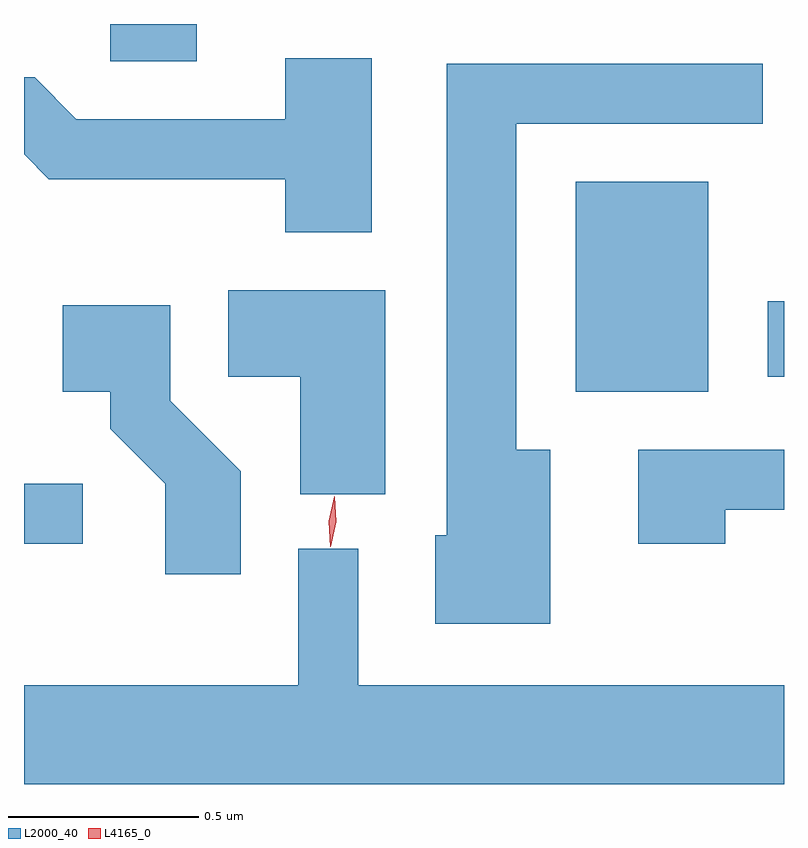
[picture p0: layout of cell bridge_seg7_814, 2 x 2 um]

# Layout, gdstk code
import gdstk
lib = gdstk.Library(unit=1e-6, precision=1e-09)
def R(c, l, rs):  # rectangles x0, y0, x1, y1
    for r in rs: c.add(gdstk.rectangle(r[:2], r[2:], *l))
def P(c, l, *ps):  # polygons
    for p in ps: c.add(gdstk.Polygon(p, *l))
L2000_40 = (2000, 40)
L4165_0 = (4165, 0)

bridge_seg7_814 = lib.new_cell('bridge_seg7_814')
R(bridge_seg7_814, L2000_40, [(210.484,1801.536,210.638,1801.694), (211.936,1801.936,212.284,1802.489), (212.441,1801.976,212.484,1802.174), (210.711,1802.806,210.939,1802.904)])
P(bridge_seg7_814, L2000_40, [(211.399,1802.814),(211.171,1802.814),(211.171,1802.654),(210.622,1802.654),(210.512,1802.764),(210.484,1802.764),(210.484,1802.561),(210.549,1802.496),(211.171,1802.496),(211.171,1802.356),(211.399,1802.356)],
  [(211.869,1801.784),(211.779,1801.784),(211.779,1802.641),(212.428,1802.641),(212.428,1802.799),(211.596,1802.799),(211.596,1801.559),(211.566,1801.559),(211.566,1801.326),(211.869,1801.326)],
  [(211.434,1802.204),(211.021,1802.204),(211.021,1801.976),(211.211,1801.976),(211.211,1801.666),(211.434,1801.666)],
  [(211.054,1801.727),(210.869,1801.912),(210.869,1802.164),(210.586,1802.164),(210.586,1801.936),(210.711,1801.936),(210.711,1801.839),(210.856,1801.694),(210.856,1801.456),(211.054,1801.456)],
  [(212.329,1801.626),(212.484,1801.626),(212.484,1801.784),(212.101,1801.784),(212.101,1801.536),(212.329,1801.536)],
  [(211.364,1801.523),(211.206,1801.523),(211.206,1801.164),(210.484,1801.164),(210.484,1800.904),(212.484,1800.904),(212.484,1801.164),(211.364,1801.164)])
P(bridge_seg7_814, L4165_0, [(211.29,1801.528),(211.29,1801.529),(211.286,1801.596),(211.301,1801.66),(211.301,1801.661),(211.302,1801.66),(211.306,1801.594),(211.291,1801.529)])

lib.write_gds('bridge_seg7_814.gds')
